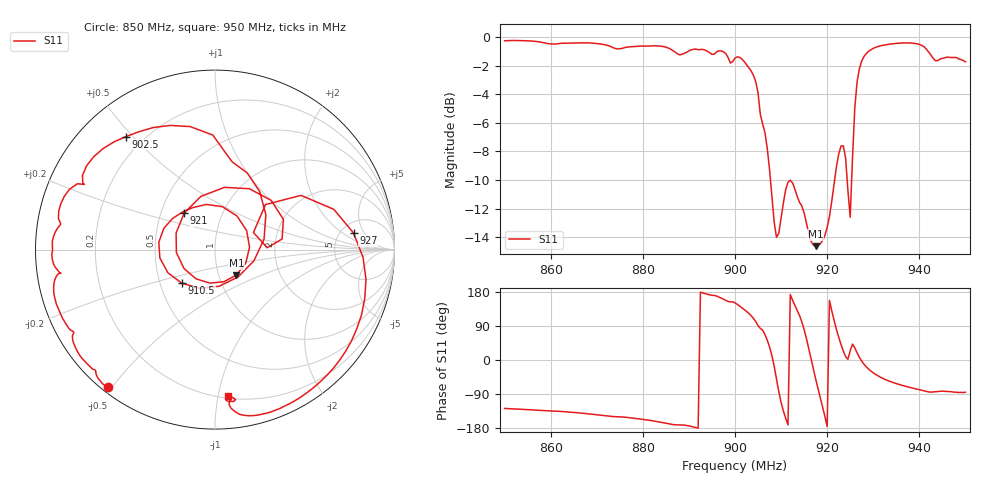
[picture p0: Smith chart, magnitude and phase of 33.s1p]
!CEYEAR,3656B,QZNG000070,1.3.8
!Calibration ON (Full Solt 2-Port(Omit Isolation))
!Measurements:S11
!2025-12-13 10:59
# Hz  S  dB  R 50.000
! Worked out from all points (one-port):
!   201 points, 850 MHz to 950 MHz, reference 50 ohm
!   lowest |S11| = -14.6 dB at 917.5 MHz (marker M1), VSWR 1.46, Z = 60.6 - j17.9 ohm
!   |S11| at or under -10 dB: 907.7 MHz to 921.6 MHz (13.91 MHz wide, 1.52 % of centre); 924.3433 MHz to 925.3148 MHz (971.6 kHz wide, 0.105 % of centre)
!   S11 on the Smith chart (normalised r, x): 850 MHz: 0.02, -0.49; 902.5 MHz: 0.14, +0.48; 910.5 MHz: 0.65, -0.26; 921 MHz: 0.66, +0.29; 927 MHz: 6.53, +3.05; 950 MHz: 0.21, -1.07
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8.5e8  -0.24 -127.9
8.625e8  -0.41 -136.0
8.75e8  -0.80 -149.9
8.875e8  -1.16 -171.4
8.93e8  -0.84 177.0
9e8  -1.45 150.8
9.025e8  -1.92 128.2
9.045e8  -3.11 101.4
9.075e8  -9.27 34.5
9.09e8  -14.01 -49.8
9.105e8  -11.60 -134.6
9.125e8  -10.21 157.6
9.15e8  -12.30 80.2
9.165e8  -14.29 3.9
9.175e8  -14.64 -50.1
9.19e8  -14.24 -122.9
9.21e8  -11.49 129.9
9.22e8  -9.10 81.3
9.235e8  -7.61 23.9
9.245e8  -10.71 2.0
9.25e8  -12.61 24.0
9.26e8  -4.93 32.2
9.27e8  -2.19 6.8
9.29e8  -0.98 -24.0
9.31e8  -0.65 -41.6
9.375e8  -0.39 -70.9
9.425e8  -1.23 -84.8
9.5e8  -1.72 -85.1
